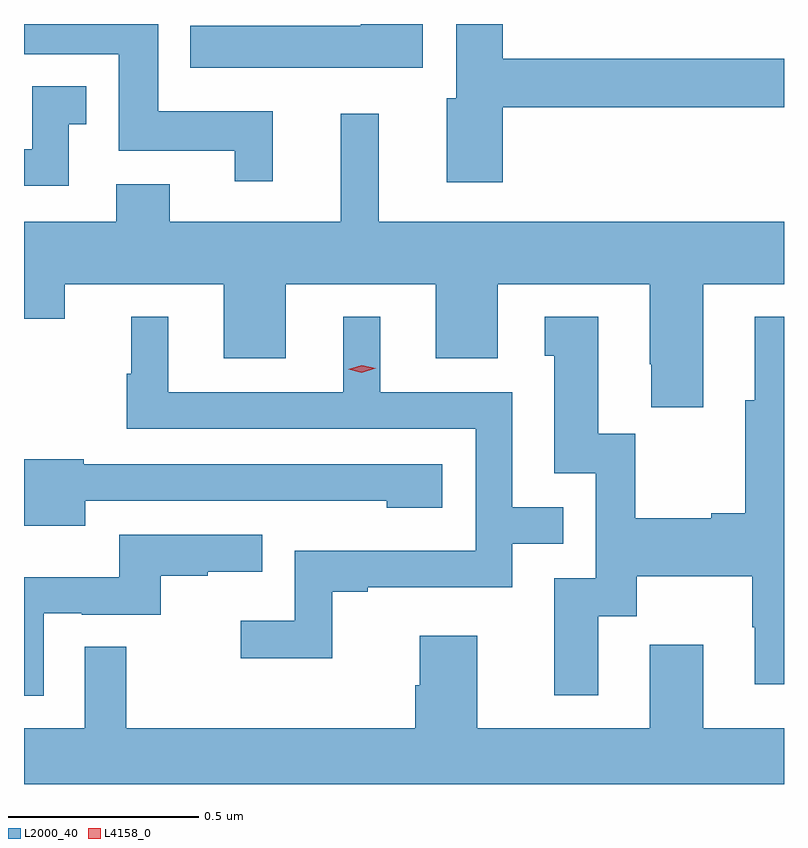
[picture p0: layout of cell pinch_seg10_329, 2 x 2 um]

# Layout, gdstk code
import gdstk
lib = gdstk.Library(unit=1e-6, precision=1e-09)
def P(c, l, *ps):  # polygons
    for p in ps: c.add(gdstk.Polygon(p, *l))
L2000_40 = (2000, 40)
L4158_0 = (4158, 0)

pinch_seg10_329 = lib.new_cell('pinch_seg10_329')
P(pinch_seg10_329, L2000_40, [(397.279,1295.673),(397.116,1295.673),(397.116,1295.668),(396.668,1295.668),(396.668,1295.558),(397.279,1295.558)],
  [(396.884,1295.443),(396.583,1295.443),(396.583,1295.673),(396.23,1295.673),(396.23,1295.594),(396.479,1295.594),(396.479,1295.339),(396.785,1295.339),(396.785,1295.259),(396.884,1295.259)],
  [(397.49,1295.454),(398.23,1295.454),(398.23,1295.582),(397.49,1295.582),(397.49,1295.673),(397.367,1295.673),(397.367,1295.478),(397.343,1295.478),(397.343,1295.256),(397.49,1295.256)],
  [(396.348,1295.409),(396.394,1295.409),(396.394,1295.509),(396.252,1295.509),(396.252,1295.343),(396.23,1295.343),(396.23,1295.247),(396.348,1295.247)],
  [(398.017,1294.988),(398.23,1294.988),(398.23,1295.152),(397.163,1295.152),(397.163,1295.437),(397.064,1295.437),(397.064,1295.152),(396.613,1295.152),(396.613,1295.251),(396.473,1295.251),(396.473,1295.152),(396.23,1295.152),(396.23,1294.898),(396.337,1294.898),(396.337,1294.988),(396.755,1294.988),(396.755,1294.794),(396.919,1294.794),(396.919,1294.988),(397.313,1294.988),(397.313,1294.794),(397.477,1294.794),(397.477,1294.988),(397.877,1294.988),(397.877,1294.777),(397.88,1294.777),(397.88,1294.665),(398.017,1294.665)],
  [(397.741,1294.114),(397.843,1294.114),(397.843,1294.22),(398.146,1294.22),(398.146,1294.086),(398.153,1294.086),(398.153,1293.936),(398.23,1293.936),(398.23,1294.903),(398.153,1294.903),(398.153,1294.683),(398.128,1294.683),(398.128,1294.385),(398.039,1294.385),(398.039,1294.372),(397.839,1294.372),(397.839,1294.595),(397.741,1294.595),(397.741,1294.903),(397.601,1294.903),(397.601,1294.8),(397.625,1294.8),(397.625,1294.491),(397.734,1294.491),(397.734,1294.215),(397.625,1294.215),(397.625,1293.906),(397.741,1293.906)],
  [(397.041,1294.179),(397.135,1294.179),(397.135,1294.191),(397.515,1294.191),(397.515,1294.305),(397.649,1294.305),(397.649,1294.401),(397.515,1294.401),(397.515,1294.704),(397.168,1294.704),(397.168,1294.903),(397.07,1294.903),(397.07,1294.704),(396.61,1294.704),(396.61,1294.903),(396.512,1294.903),(396.512,1294.752),(396.501,1294.752),(396.501,1294.608),(397.419,1294.608),(397.419,1294.287),(396.942,1294.287),(396.942,1294.102),(396.801,1294.102),(396.801,1294.004),(397.041,1294.004)],
  [(396.391,1294.419),(396.949,1294.419),(396.949,1294.418),(397.185,1294.418),(397.185,1294.4),(397.33,1294.4),(397.33,1294.515),(396.387,1294.515),(396.387,1294.528),(396.23,1294.528),(396.23,1294.352),(396.391,1294.352)],
  [(396.282,1294.122),(396.382,1294.122),(396.382,1294.119),(396.59,1294.119),(396.59,1294.221),(396.713,1294.221),(396.713,1294.232),(396.857,1294.232),(396.857,1294.329),(396.48,1294.329),(396.48,1294.217),(396.23,1294.217),(396.23,1293.905),(396.282,1293.905)],
  [(398.23,1293.82),(398.017,1293.82),(398.017,1294.039),(397.877,1294.039),(397.877,1293.82),(397.423,1293.82),(397.423,1294.063),(397.271,1294.063),(397.271,1293.933),(397.259,1293.933),(397.259,1293.82),(396.499,1293.82),(396.499,1294.034),(396.39,1294.034),(396.39,1293.82),(396.23,1293.82),(396.23,1293.673),(398.23,1293.673)])
P(pinch_seg10_329, L4158_0, [(397.119,1294.755),(397.083,1294.764),(397.083,1294.764),(397.083,1294.764),(397.119,1294.775),(397.155,1294.767),(397.155,1294.767),(397.155,1294.767)])

lib.write_gds('pinch_seg10_329.gds')
